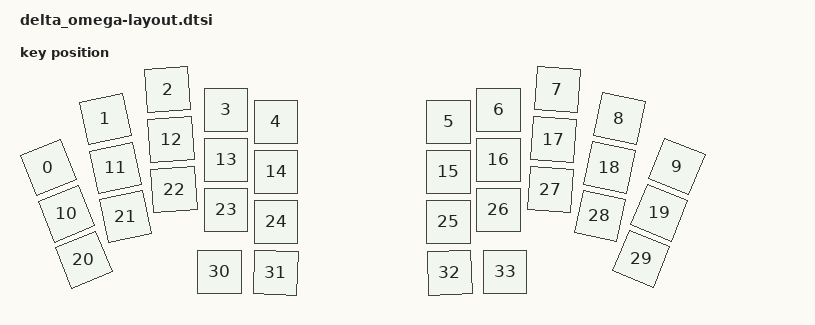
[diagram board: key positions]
#include <physical_layouts.dtsi>

/ {
    physical_layout0: physical_layout_0 {
        compatible = "zmk,physical-layout";
        display-name = "Default Layout";
        // 34-key splay built for Kailh PG1316S (ultra-low-profile SMD,
        // 14 x 14.5 mm body, ~14 mm pitch). Coordinates are normalized to a
        // 1u cell (100 = one key pitch); keycaps fill the cell (95 x 95) to
        // show the small inter-cap gap typical of low-profile caps.
        keys  //                     w  h    x    y     rot    rx     ry
            = <&key_physical_attrs  95  95  15  158 (-2200)   65   208>
            , <&key_physical_attrs  95  95 129   62 (-1200)  179   112>
            , <&key_physical_attrs  95  95 253    3  (-400)  303    53>
            , <&key_physical_attrs  95  95 370   44      0    0     0>
            , <&key_physical_attrs  95  95 470   68      0    0     0>
            , <&key_physical_attrs  95  95 815   68      0    0     0>
            , <&key_physical_attrs  95  95 915   44      0    0     0>
            , <&key_physical_attrs  95  95 1032    3    400 1082    53>
            , <&key_physical_attrs  95  95 1156   62   1200 1206   112>
            , <&key_physical_attrs  95  95 1270  158   2200 1320   208>
            , <&key_physical_attrs  95  95  51  251 (-2200)  101   301>
            , <&key_physical_attrs  95  95 149  160 (-1200)  199   210>
            , <&key_physical_attrs  95  95 260  103  (-400)  310   153>
            , <&key_physical_attrs  95  95 370  144      0    0     0>
            , <&key_physical_attrs  95  95 470  168      0    0     0>
            , <&key_physical_attrs  95  95 815  168      0    0     0>
            , <&key_physical_attrs  95  95 915  144      0    0     0>
            , <&key_physical_attrs  95  95 1025  103    400 1075   153>
            , <&key_physical_attrs  95  95 1136  160   1200 1186   210>
            , <&key_physical_attrs  95  95 1235  251   2200 1285   301>
            , <&key_physical_attrs  95  95  86  343 (-2200)  136   393>
            , <&key_physical_attrs  95  95 169  257 (-1200)  219   307>
            , <&key_physical_attrs  95  95 266  203  (-400)  316   253>
            , <&key_physical_attrs  95  95 370  244      0    0     0>
            , <&key_physical_attrs  95  95 470  268      0    0     0>
            , <&key_physical_attrs  95  95 815  268      0    0     0>
            , <&key_physical_attrs  95  95 915  244      0    0     0>
            , <&key_physical_attrs  95  95 1019  203    400 1069   253>
            , <&key_physical_attrs  95  95 1117  257   1200 1167   307>
            , <&key_physical_attrs  95  95 1199  343   2200 1249   393>
            , <&key_physical_attrs  95  95 357  368      0    0     0>
            , <&key_physical_attrs  95  95 469  370    200  519   420>
            , <&key_physical_attrs  95  95 817  370  (-200)  867   420>
            , <&key_physical_attrs  95  95 928  368      0    0     0>
            ;
    };
};
